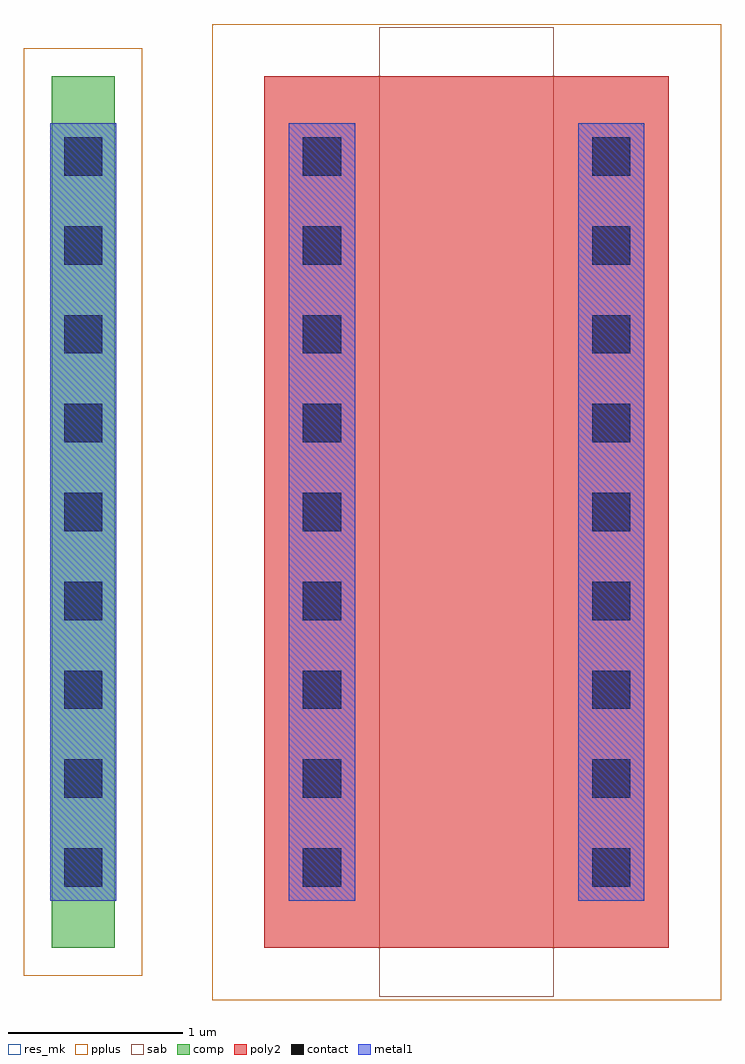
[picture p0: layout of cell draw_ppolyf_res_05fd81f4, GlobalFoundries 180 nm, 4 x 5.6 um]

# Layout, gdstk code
import gdstk
lib = gdstk.Library(unit=1e-6, precision=1e-09)
def R(c, l, rs):  # rectangles x0, y0, x1, y1
    for r in rs: c.add(gdstk.rectangle(r[:2], r[2:], *l))
def A(c, l, x, y, w, h, nx, ny, dx, dy):  # array of equal rectangles
    R(c, l, [(x+i*dx, y+j*dy, x+i*dx+w, y+j*dy+h) for i in range(nx) for j in range(ny)])
comp = (22, 0)
poly2 = (30, 0)
pplus = (31, 0)
contact = (33, 0)
metal1 = (34, 0)
sab = (49, 0)
res_mk = (110, 5)

draw_ppolyf_res_05fd81f4 = lib.new_cell('draw_ppolyf_res_05fd81f4')
R(draw_ppolyf_res_05fd81f4, comp, [(-1.88,0,-1.52,5)])
R(draw_ppolyf_res_05fd81f4, poly2, [(-0.66,0,1.66,5)])
R(draw_ppolyf_res_05fd81f4, pplus, [(-0.96,-0.3,1.96,5.3), (-2.04,-0.16,-1.36,5.16)])
A(draw_ppolyf_res_05fd81f4, contact, -1.81, 0.35, 0.22, 0.22, 1, 9, 0, 0.51)
A(draw_ppolyf_res_05fd81f4, contact, -0.44, 0.35, 0.22, 0.22, 1, 9, 0, 0.51)
A(draw_ppolyf_res_05fd81f4, contact, 1.22, 0.35, 0.22, 0.22, 1, 9, 0, 0.51)
R(draw_ppolyf_res_05fd81f4, metal1, [(-1.89,0.27,-1.51,4.73), (-0.52,0.27,-0.14,4.73), (1.14,0.27,1.52,4.73)])
R(draw_ppolyf_res_05fd81f4, sab, [(0,-0.28,1,5.28)])
R(draw_ppolyf_res_05fd81f4, res_mk, [(0,0,1,5)])

lib.write_gds('draw_ppolyf_res_05fd81f4.gds')
